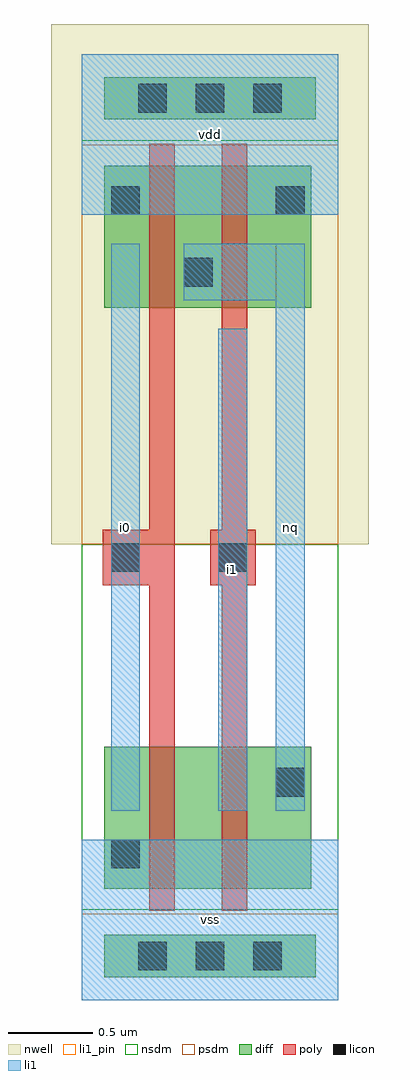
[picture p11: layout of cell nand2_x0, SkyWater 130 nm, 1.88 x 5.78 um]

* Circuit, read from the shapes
.subckt nand2_x0 i0 i1 nq vdd vss
XM1 n1 i0 vss VSUBS sky130_fd_pr__nfet_01v8 w=0.84 l=0.15
XM2 nq i1 n1 VSUBS sky130_fd_pr__nfet_01v8 w=0.84 l=0.15
XM3 nq i0 vdd n2 sky130_fd_pr__pfet_01v8 w=0.84 l=0.15
XM4 vdd i1 nq n2 sky130_fd_pr__pfet_01v8 w=0.84 l=0.15
.ends

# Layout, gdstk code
import gdstk
lib = gdstk.Library(unit=1e-6, precision=1e-09)
def R(c, l, rs):  # rectangles x0, y0, x1, y1
    for r in rs: c.add(gdstk.rectangle(r[:2], r[2:], *l))
def A(c, l, x, y, w, h, nx, ny, dx, dy):  # array of equal rectangles
    R(c, l, [(x+i*dx, y+j*dy, x+i*dx+w, y+j*dy+h) for i in range(nx) for j in range(ny)])
def P(c, l, *ps):  # polygons
    for p in ps: c.add(gdstk.Polygon(p, *l))
nwell = (64, 20)
diff = (65, 20)
poly = (66, 20)
licon = (66, 44)
li1_pin = (67, 16)
li1 = (67, 20)
nsdm = (93, 44)
psdm = (94, 20)

nand2_x0 = lib.new_cell('nand2_x0')
R(nand2_x0, nwell, [(-0.18,2.7,1.7,5.78)])
R(nand2_x0, diff, [(0.135,0.135,1.385,0.385), (0.135,0.66,1.36,1.5), (0.135,4.1,1.36,4.94), (0.135,5.215,1.385,5.465)])
P(nand2_x0, poly, [(0.4,0.53),(0.4,2.455),(0.125,2.455),(0.125,2.785),(0.4,2.785),(0.4,5.07),(0.55,5.07),(0.55,0.53)],
  [(0.83,0.53),(0.83,2.455),(0.76,2.455),(0.76,2.785),(0.83,2.785),(0.83,5.07),(0.98,5.07),(0.98,2.785),(1.03,2.785),(1.03,2.455),(0.98,2.455),(0.98,0.53)])
A(nand2_x0, licon, 0.335, 0.175, 0.17, 0.17, 3, 2, 0.34, 5.08)
R(nand2_x0, licon, [(0.175,0.78,0.345,0.95), (1.15,1.205,1.32,1.375), (0.175,2.535,0.345,2.705), (0.81,2.535,0.98,2.705), (0.605,4.225,0.775,4.395), (0.175,4.65,0.345,4.82), (1.15,4.65,1.32,4.82)])
R(nand2_x0, li1_pin, [(0,0,1.52,0.95), (0.175,1.12,0.345,4.48), (0.81,1.12,0.98,3.975), (1.15,1.12,1.32,4.48), (0,4.65,1.52,5.6)])
R(nand2_x0, li1, [(0,0,1.52,0.95), (0.175,1.12,0.345,4.48), (0.81,1.12,0.98,3.975), (0,4.65,1.52,5.6)])
P(nand2_x0, li1, [(1.15,1.12),(1.15,4.145),(0.605,4.145),(0.605,4.48),(1.32,4.48),(1.32,1.12)])
R(nand2_x0, nsdm, [(0,0.535,1.52,2.7), (0,5.09,1.52,5.6)])
R(nand2_x0, psdm, [(0,0,1.52,0.51), (0,2.7,1.52,5.065)])
nand2_x0.add(gdstk.Label('vss', (0.76,0.475), layer=67, texttype=16))
nand2_x0.add(gdstk.Label('vdd', (0.76,5.125), layer=67, texttype=16))
nand2_x0.add(gdstk.Label('i0', (0.26,2.8), layer=67, texttype=16))
nand2_x0.add(gdstk.Label('nq', (1.235,2.8), layer=67, texttype=16))
nand2_x0.add(gdstk.Label('i1', (0.895,2.548), layer=67, texttype=16))

lib.write_gds('nand2_x0.gds')
